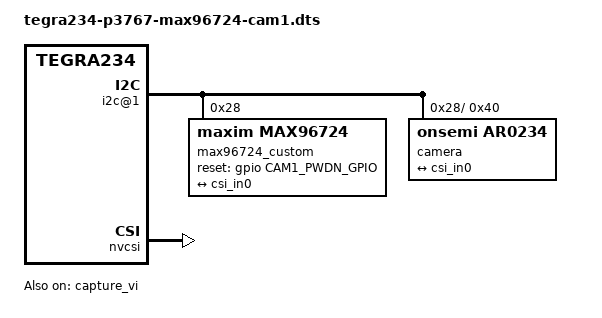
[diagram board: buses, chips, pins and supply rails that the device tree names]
/dts-v1/;
/plugin/;

#define CAM1_PWDN_GPIO          0xa6 /* TEGRA234_MAIN_GPIO(Y, 0) */
#define CAM_I2C_MUX_GPIO        0x13 /* TEGRA234_AON_GPIO(CC, 3) */

#define CAM1_LANES              2
#define CAM1_LANE_STR           "2"

/ {
    overlay-name = "Custom MAX96724 + onsemi AR0234 (CAM1)";
    compatible = "nvidia,p3768-0000+p3767-0005-super",
                 "nvidia,p3767-0005",
                 "nvidia,tegra234";

    /* Disable vendor deserializers occupying the I²C branches */
    fragment@0 {
        target-path = "/bus@0/cam_i2cmux/i2c@0/max96724_a@2e";
        __overlay__ {
            status = "disabled";
        };
    };

    /* Custom MAX96724 and downstream AR0234 sensor */
    fragment@1 {
        target-path = "/bus@0/cam_i2cmux/i2c@1";
        __overlay__ {
            /delete-node/ max96724_b@28;

            max96724_b@4e {
                status = "disabled";
            };

            max96724_custom: max96724@28 {
                compatible = "maxim,max96724";
                reg = <0x28>;
                status = "okay";

                reset-gpios = <&gpio CAM1_PWDN_GPIO 0>;

                #address-cells = <1>;
                #size-cells = <0>;

                /* Downstream I²C mux to sensors */
                i2c-mux {
                    #address-cells = <1>;
                    #size-cells = <0>;
                    compatible = "i2c-mux-gpio";
                    i2c-parent = <&cam_i2c>;
                    mux-gpios = <&gpio_aon CAM_I2C_MUX_GPIO 0>;

                    /* ===== Channel 0: AR0234 sensor ===== */
                    max96724_custom_i2c_0: i2c@0 {
                        #address-cells = <1>;
                        #size-cells = <0>;
                        reg = <0>;

                        camera@40 {
                            compatible = "onsemi,ar0234"; /* <-- Fixed match for nv_ar0234.ko */
                            reg = <0x40>;
                            status = "okay";

                            sensor_model = "ar0234";
                            use_sensor_mode_id = "false";
                            devnode = "video0";

                            data-lanes = <CAM1_LANES>;
                            data-frequency = <0x230>;

                            mode0 {
                                mclk_khz = "24000";
                                num_lanes = CAM1_LANE_STR;
                                tegra_sinterface = "serial_c";
                                phy_mode = "DPHY";
                                discontinuous_clk = "yes";
                                dpcm_enable = "false";
                                cil_settletime = "0";

                                /* AR0234: 1920x1200 Bayer */
                                active_w = "1920";
                                active_h = "1200";
                                mode_type = "bayer";
                                pixel_t = "bayer_rggb"; /* adjust if needed */
                                csi_pixel_bit_depth = "10";
                                readout_orientation = "0";
                                line_length = "2200";
                                inherent_gain = "1";
                                mclk_multiplier = "9.33";
                                pix_clk_hz = "74250000";
                                serdes_pix_clk_hz = "600000000";

                                gain_factor = "16";
                                framerate_factor = "1000000";
                                exposure_factor = "1000000";
                                min_gain_val = "16";
                                max_gain_val = "256";
                                step_gain_val = "1";
                                default_gain = "16";
                                min_hdr_ratio = "1";
                                max_hdr_ratio = "1";
                                min_framerate = "15000000";
                                max_framerate = "60000000";
                                step_framerate = "1";
                                default_framerate = "60000000";
                                min_exp_time = "13";
                                max_exp_time = "683709";
                                step_exp_time = "1";
                                default_exp_time = "2495";
                                embedded_metadata_height = "0";
                            };

                            ports {
                                #address-cells = <1>;
                                #size-cells = <0>;

                                port@0 {
                                    reg = <0>;
                                    ar0234_out: endpoint {
                                        port-index = <2>; /* serial_c */
                                        bus-width  = <CAM1_LANES>;
                                        remote-endpoint = <&csi_in0>;
                                    };
                                };
                            };
                        };
                    };

                    /* Other empty channels */
                    max96724_custom_i2c_1: i2c@1 { reg = <1>; #address-cells = <1>; #size-cells = <0>; };
                    max96724_custom_i2c_2: i2c@2 { reg = <2>; #address-cells = <1>; #size-cells = <0>; };
                    max96724_custom_i2c_3: i2c@3 { reg = <3>; #address-cells = <1>; #size-cells = <0>; };
                };

                channel@0 {
                    reg = <0>;
                    label = "deser_cam1_ch0";
                    clock-lanes = <0>;
                    data-lanes = <1 2>;
                    link-frequencies = /bits/ 64 <1250000000>;
                };
            };
        };
    };

    /* NVCSI routing */
    fragment@2 {
        target = <&nvcsi>;
        __overlay__ {
            status = "okay";
            num-channels = <1>;

            /delete-node/ channel@0;
            /delete-node/ channel@1;
            /delete-node/ channel@2;
            /delete-node/ channel@3;
            /delete-node/ channel@4;
            /delete-node/ channel@5;
            /delete-node/ channel@6;
            /delete-node/ channel@7;

            channel@0 {
                reg = <0>;
                ports {
                    #address-cells = <1>;
                    #size-cells = <0>;

                    port@0 {
                        reg = <0>;
                        csi_in0: endpoint {
                            port-index = <2>;
                            bus-width = <CAM1_LANES>;
                            remote-endpoint = <&ar0234_out>;
                        };
                    };

                    port@1 {
                        reg = <1>;
                        csi_out0: endpoint {
                            remote-endpoint = <&vi_in0>;
                        };
                    };
                };
            };
        };
    };

    /* VI (Video Input) pipeline */
    fragment@3 {
        target = <&capture_vi>;
        __overlay__ {
            status = "okay";
            num-channels = <1>;

            ports {
                #address-cells = <1>;
                #size-cells = <0>;

                /delete-node/ port@0;
                /delete-node/ port@1;
                /delete-node/ port@2;
                /delete-node/ port@3;
                /delete-node/ port@4;
                /delete-node/ port@5;
                /delete-node/ port@6;
                /delete-node/ port@7;

                port@0 {
                    reg = <0>;
                    vi_in0: endpoint {
                        vc-id = <0>;
                        port-index = <2>;
                        bus-width = <CAM1_LANES>;
                        remote-endpoint = <&csi_out0>;
                    };
                };
            };
        };
    };

    /* Tegra Camera Platform (TCP) mapping */
    fragment@4 {
        target = <&tcp>;
        __overlay__ {
            num_csi_lanes = <CAM1_LANES>;
            max_lane_speed = <1250000>;
            min_bits_per_pixel = <10>;
            vi_peak_byte_per_pixel = <2>;
            vi_bw_margin_pct = <25>;

            modules {
                /delete-node/ module0;
                /delete-node/ module1;
                /delete-node/ module2;
                /delete-node/ module3;
                /delete-node/ module4;
                /delete-node/ module5;
                /delete-node/ module6;
                /delete-node/ module7;

                custom_module0: module0 {
                    status = "okay";
                    badge = "custom_front_MAX96724_AR0234";
                    position = "front";
                    orientation = "1";

                    custom_module0_drivernode0: drivernode0 {
                        pcl_id = "v4l2_sensor";
                        status = "okay";
                        devname = "video0";
                        proc-device-tree = "/proc/device-tree/bus@0/cam_i2cmux/i2c@1/max96724@28/i2c-mux/i2c@0/camera@40";
                        sysfs-device-tree = "/sys/firmware/devicetree/base/bus@0/cam_i2cmux/i2c@1/max96724@28/i2c-mux/i2c@0/camera@40";
                    };
                };
            };
        };
    };
};
